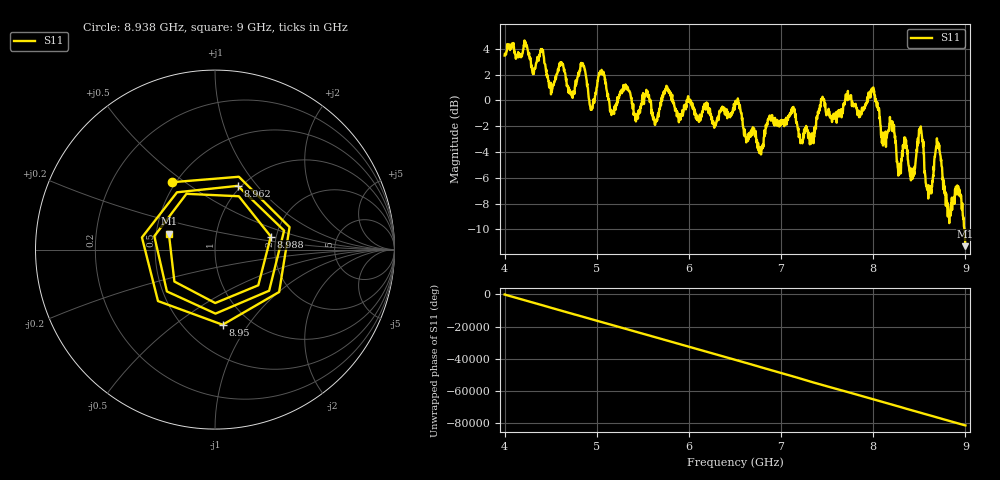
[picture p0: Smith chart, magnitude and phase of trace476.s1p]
! Created with skrf 1.8.0 (http://scikit-rf.org).
# Hz S RI R 50.0
!freq ReS11 ImS11
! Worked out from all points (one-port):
!   1601 points, 4 GHz to 9 GHz, reference 50 ohm
!   lowest |S11| = -11.3 dB at 9 GHz (marker M1), VSWR 1.75, Z = 29.2 + j5.61 ohm
!   |S11| at or under -10 dB: 8.989372 GHz to end of sweep
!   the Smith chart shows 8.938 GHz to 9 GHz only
!   S11 on the Smith chart (normalised r, x): 8.938 GHz: 0.48, +0.45; 8.95 GHz: 0.75, -0.77; 8.962 GHz: 0.97, +0.80; 8.988 GHz: 1.87, +0.30; 9 GHz: 0.58, +0.11
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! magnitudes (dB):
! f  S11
! 4 GHz  3.5
! 4.506 GHz  0.7
! 4.625 GHz  2.9
! 4.734 GHz  0.3
! 4.85 GHz  2.9
! 4.938 GHz  -0.7
! 5.05 GHz  2.3
! 5.162 GHz  -1.0
! 5.25 GHz  0.5
! 5.875 GHz  -0.9
! 6.5 GHz  -0.5
! 6.778 GHz  -4.0
! 7.125 GHz  -0.5
! 7.328 GHz  -3.2
! 7.444 GHz  0.1
! 7.75 GHz  0.2
! 7.997 GHz  0.9
! 8.275 GHz  -5.6
! 8.375 GHz  -4.6
! 8.519 GHz  -2.3
! 8.594 GHz  -6.6
! 8.7 GHz  -3.3
! 8.819 GHz  -8.8
! 8.938 GHz  -7.0
! 8.95 GHz  -7.5
! 8.962 GHz  -8.5
! 8.988 GHz  -9.9
! 9 GHz  -11.3
